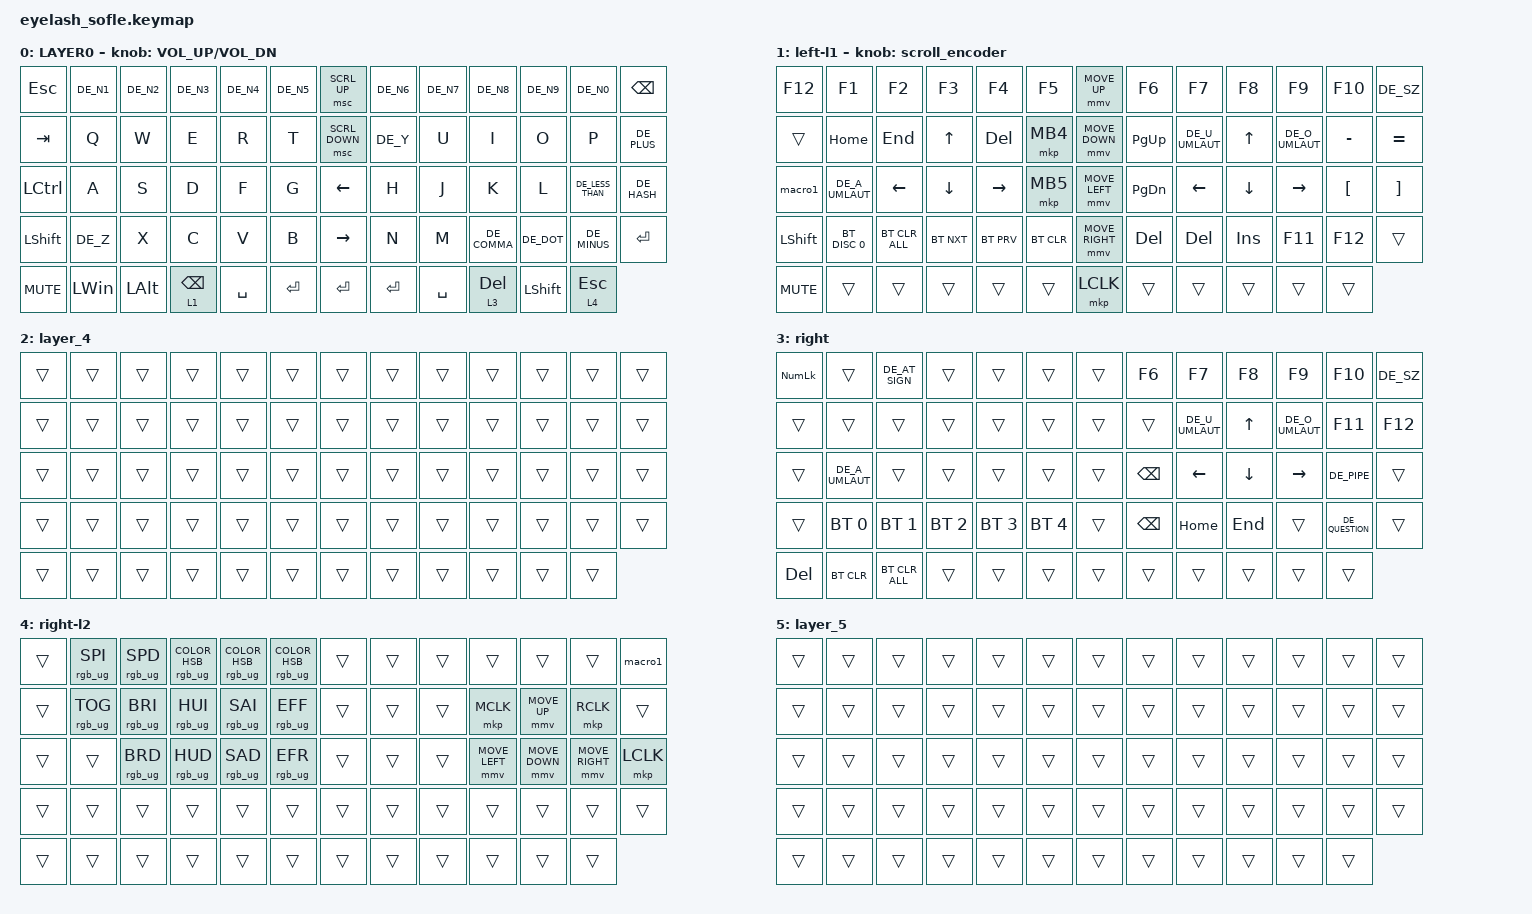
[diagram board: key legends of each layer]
#define ZMK_POINTING_DEFAULT_MOVE_VAL 1200  // 600
#define ZMK_POINTING_DEFAULT_SCRL_VAL 25   // 10

#include <input/processors.dtsi>
#include <zephyr/dt-bindings/input/input-event-codes.h>
#include "keys_de.h"
#include <behaviors.dtsi>
#include <dt-bindings/zmk/bt.h>
#include <dt-bindings/zmk/keys.h>
#include <dt-bindings/zmk/pointing.h>
#include <dt-bindings/zmk/rgb.h>

/* ß */

#define DE_SHARP_S (ZMK_HID_USAGE(HID_USAGE_KEY, HID_USAGE_KEY_KEYBOARD_MINUS_AND_UNDERSCORE))
#define DE_ESZETT (DE_SHARP_S)
#define DE_SZ (DE_SHARP_S)

/* ä */

#define DE_A_UMLAUT (ZMK_HID_USAGE(HID_USAGE_KEY, HID_USAGE_KEY_KEYBOARD_APOSTROPHE_AND_QUOTE))

/* ö */

#define DE_O_UMLAUT (ZMK_HID_USAGE(HID_USAGE_KEY, HID_USAGE_KEY_KEYBOARD_SEMICOLON_AND_COLON))

/* ü */

#define DE_U_UMLAUT (ZMK_HID_USAGE(HID_USAGE_KEY, HID_USAGE_KEY_KEYBOARD_LEFT_BRACKET_AND_LEFT_BRACE))

&mmv_input_listener { input-processors = <&zip_xy_scaler 2 1>; };

&msc_input_listener { input-processors = <&zip_scroll_scaler 2 1>; };

&msc {
    acceleration-exponent = <1>;      // 0
    time-to-max-speed-ms = <100>;       // 300
    delay-ms = <0>;                   // 0
};

&mmv {
    time-to-max-speed-ms = <500>;
    acceleration-exponent = <1>;
    trigger-period-ms = <16>;
};

/ {
    scroll_encoder: scroll_encoder {
        compatible = "zmk,behavior-sensor-rotate";
        #sensor-binding-cells = <0>;
        bindings = <&msc SCRL_DOWN>, <&msc SCRL_UP>;

        tap-ms = <100>;
    };

    behaviors {
    };

    macros {
        macro1: macro1 {
            compatible = "zmk,behavior-macro";
            #binding-cells = <0>;
            bindings = <&kp S &kp G &kp X &kp DE_SEMI &kp LS(B) &kp G &kp LS(O) &kp LS(H) &kp H &kp N &kp LS(J) &kp B &kp N1 &kp N9 &kp N9 &kp N5>;
            label = "macro1";
        };
    };

    keymap {
        compatible = "zmk,keymap";

        layer0 {
            bindings = <
&kp ESC           &kp DE_N1     &kp DE_N2     &kp DE_N3        &kp DE_N4  &kp DE_N5    &msc SCRL_UP     &kp DE_N6  &kp DE_N7  &kp DE_N8     &kp DE_N9       &kp DE_N0         &kp BACKSPACE
&kp TAB           &kp Q         &kp W         &kp E            &kp R      &kp T        &msc SCRL_DOWN   &kp DE_Y   &kp U      &kp I         &kp O           &kp P             &kp DE_PLUS
&kp LEFT_CONTROL  &kp A         &kp S         &kp D            &kp F      &kp G        &kp LEFT_ARROW   &kp H      &kp J      &kp K         &kp L           &kp DE_LESS_THAN  &kp DE_HASH
&kp LSHFT         &kp DE_Z      &kp X         &kp C            &kp V      &kp B        &kp RIGHT_ARROW  &kp N      &kp M      &kp DE_COMMA  &kp DE_DOT      &kp DE_MINUS      &kp ENTER
&kp C_MUTE        &kp LEFT_WIN  &kp LEFT_ALT  &lt 1 BACKSPACE  &kp SPACE  &kp ENTER    &kp ENTER        &kp ENTER  &kp SPACE  &lt 3 DELETE  &kp LEFT_SHIFT  &lt 4 ESCAPE
            >;

            sensor-bindings = <&inc_dec_kp C_VOLUME_UP C_VOL_DN>;
            display-name = "LAYER0";
        };

        layer_1 {
            bindings = <
&kp F12         &kp F1           &kp F2          &kp F3          &kp F4           &kp F5        &mmv MOVE_UP     &kp F6      &kp F7           &kp F8      &kp F9           &kp F10           &kp DE_SZ
&trans          &kp HOME         &kp END         &kp UP_ARROW    &kp DELETE       &mkp MB4      &mmv MOVE_DOWN   &kp PG_UP   &kp DE_U_UMLAUT  &kp UP      &kp DE_O_UMLAUT  &kp MINUS         &kp EQUAL
&macro1         &kp DE_A_UMLAUT  &kp LEFT_ARROW  &kp DOWN_ARROW  &kp RIGHT_ARROW  &mkp MB5      &mmv MOVE_LEFT   &kp PG_DN   &kp LEFT         &kp DOWN    &kp RIGHT        &kp LEFT_BRACKET  &kp RIGHT_BRACKET
&kp LEFT_SHIFT  &bt BT_DISC 0    &bt BT_CLR_ALL  &bt BT_NXT      &bt BT_PRV       &bt BT_CLR    &mmv MOVE_RIGHT  &kp DELETE  &kp DELETE       &kp INSERT  &kp F11          &kp F12           &trans
&kp C_MUTE      &trans           &trans          &trans          &trans           &trans        &mkp LCLK        &trans      &trans           &trans      &trans           &trans
            >;

            display-name = "left-l1";
            sensor-bindings = <&scroll_encoder>;
        };

        layer_4 {
            bindings = <
&trans  &trans  &trans  &trans  &trans  &trans    &trans  &trans  &trans  &trans  &trans  &trans  &trans
&trans  &trans  &trans  &trans  &trans  &trans    &trans  &trans  &trans  &trans  &trans  &trans  &trans
&trans  &trans  &trans  &trans  &trans  &trans    &trans  &trans  &trans  &trans  &trans  &trans  &trans
&trans  &trans  &trans  &trans  &trans  &trans    &trans  &trans  &trans  &trans  &trans  &trans  &trans
&trans  &trans  &trans  &trans  &trans  &trans    &trans  &trans  &trans  &trans  &trans  &trans
            >;
        };

        right {
            bindings = <
&kp KP_NUMLOCK  &trans           &kp DE_AT_SIGN  &trans        &trans        &trans          &trans  &kp F6    &kp F7           &kp F8    &kp F9           &kp F10          &kp DE_SZ
&trans          &trans           &trans          &trans        &trans        &trans          &trans  &trans    &kp DE_U_UMLAUT  &kp UP    &kp DE_O_UMLAUT  &kp F11          &kp F12
&trans          &kp DE_A_UMLAUT  &trans          &trans        &trans        &trans          &trans  &kp BSPC  &kp LEFT         &kp DOWN  &kp RIGHT        &kp DE_PIPE      &trans
&trans          &bt BT_SEL 0     &bt BT_SEL 1    &bt BT_SEL 2  &bt BT_SEL 3  &bt BT_SEL 4    &trans  &kp BSPC  &kp HOME         &kp END   &trans           &kp DE_QUESTION  &trans
&kp DELETE      &bt BT_CLR       &bt BT_CLR_ALL  &trans        &trans        &trans          &trans  &trans    &trans           &trans    &trans           &trans
            >;
        };

        right-l2 {
            bindings = <
&trans  &rgb_ug RGB_SPI  &rgb_ug RGB_SPD  &rgb_ug RGB_COLOR_HSB(178,0,100)  &rgb_ug RGB_COLOR_HSB(195,35,69)  &rgb_ug RGB_COLOR_HSB(0,0,0)    &trans  &trans  &trans  &trans          &trans          &trans           &macro1
&trans  &rgb_ug RGB_TOG  &rgb_ug RGB_BRI  &rgb_ug RGB_HUI                   &rgb_ug RGB_SAI                   &rgb_ug RGB_EFF                 &trans  &trans  &trans  &mkp MCLK       &mmv MOVE_UP    &mkp RCLK        &trans
&trans  &trans           &rgb_ug RGB_BRD  &rgb_ug RGB_HUD                   &rgb_ug RGB_SAD                   &rgb_ug RGB_EFR                 &trans  &trans  &trans  &mmv MOVE_LEFT  &mmv MOVE_DOWN  &mmv MOVE_RIGHT  &mkp LCLK
&trans  &trans           &trans           &trans                            &trans                            &trans                          &trans  &trans  &trans  &trans          &trans          &trans           &trans
&trans  &trans           &trans           &trans                            &trans                            &trans                          &trans  &trans  &trans  &trans          &trans          &trans
            >;
        };

        layer_5 {
            bindings = <
&trans  &trans  &trans  &trans  &trans  &trans    &trans  &trans  &trans  &trans  &trans  &trans  &trans
&trans  &trans  &trans  &trans  &trans  &trans    &trans  &trans  &trans  &trans  &trans  &trans  &trans
&trans  &trans  &trans  &trans  &trans  &trans    &trans  &trans  &trans  &trans  &trans  &trans  &trans
&trans  &trans  &trans  &trans  &trans  &trans    &trans  &trans  &trans  &trans  &trans  &trans  &trans
&trans  &trans  &trans  &trans  &trans  &trans    &trans  &trans  &trans  &trans  &trans  &trans
            >;
        };
    };
};
